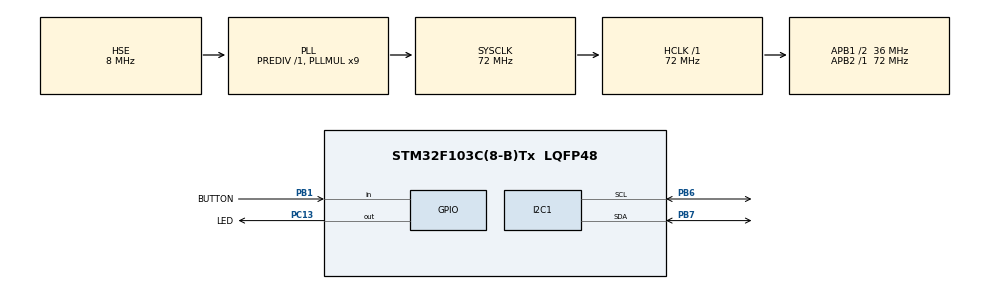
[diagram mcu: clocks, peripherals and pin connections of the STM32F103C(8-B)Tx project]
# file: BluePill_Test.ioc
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Mcu.Family=STM32F1
Mcu.Name=STM32F103C(8-B)Tx
Mcu.Package=LQFP48
NVIC.PriorityGroup=NVIC_PRIORITYGROUP_4
PA13.Mode=Serial_Wire
PA13.Signal=SYS_JTMS-SWDIO
PA14.Mode=Serial_Wire
PA14.Signal=SYS_JTCK-SWCLK
PB1.GPIO_Label=BUTTON
PB1.GPIO_Mode=GPIO_MODE_INPUT
PB1.GPIO_PuPd=GPIO_PULLUP
PB1.Signal=GPIO_Input
PB6.Mode=I2C
PB6.Signal=I2C1_SCL
PB7.Mode=I2C
PB7.Signal=I2C1_SDA
PC13-TAMPER-RTC.GPIO_Label=LED
PC13-TAMPER-RTC.GPIO_ModeDefaultOutputPP=GPIO_MODE_OUTPUT_PP
PC13-TAMPER-RTC.GPIO_PuPd=GPIO_NOPULL
PC13-TAMPER-RTC.GPIO_Speed=GPIO_SPEED_FREQ_LOW
PC13-TAMPER-RTC.PinState=GPIO_PIN_RESET
PC13-TAMPER-RTC.Signal=GPIO_Output
PD0-OSC_IN.Mode=HSE-External-Oscillator
PD0-OSC_IN.Signal=RCC_OSC_IN
PD1-OSC_OUT.Mode=HSE-External-Oscillator
PD1-OSC_OUT.Signal=RCC_OSC_OUT
ProjectManager.HeapSize=0x200
ProjectManager.StackSize=0x400
ProjectManager.TargetToolchain=STM32CubeIDE
RCC.AHBFreq_Value=72000000
RCC.APB1CLKDivider=RCC_HCLK_DIV2
RCC.APB1Freq_Value=36000000
RCC.APB1TimFreq_Value=72000000
RCC.APB2Freq_Value=72000000
RCC.APB2TimFreq_Value=72000000
RCC.HCLKFreq_Value=72000000
RCC.PLLMUL=RCC_PLL_MUL9
RCC.PLLSourceVirtual=RCC_PLLSOURCE_HSE
RCC.SYSCLKFreq_VALUE=72000000
RCC.SYSCLKSource=RCC_SYSCLKSOURCE_PLLCLK
RCC.USBFreq_Value=72000000
board=custom

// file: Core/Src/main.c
/* USER CODE BEGIN Header */
/**
  ******************************************************************************
  * @file           : main.c
  * @brief          : Main program body
  ******************************************************************************
  * @attention
  *
  * <h2><center>&copy; Copyright (c) 2020 STMicroelectronics.
  * All rights reserved.</center></h2>
  *
  * This software component is licensed by ST under BSD 3-Clause license,
  * the "License"; You may not use this file except in compliance with the
  * License. You may obtain a copy of the License at:
  *                        opensource.org/licenses/BSD-3-Clause
  *
  ******************************************************************************
  */
/* USER CODE END Header */

#include "main.h"

I2C_HandleTypeDef hi2c1;

/* USER CODE BEGIN PV */
static const uint8_t EEPROM_READ_ADDR = (0x50 << 1) & 1;
static const uint8_t EEPROM_WRITE_ADDR = (0x50 << 1);

/* USER CODE END PV */

void SystemClock_Config(void);
static void MX_GPIO_Init(void);
static void MX_I2C1_Init(void);
/* USER CODE BEGIN PFP */

void HAL_I2C_ClearBusyFlagErrata_2_14_7(I2C_HandleTypeDef *hi2c) {
    uint32_t SDA_PIN = GPIO_PIN_7;
    uint32_t SCL_PIN = GPIO_PIN_6;
    GPIO_InitTypeDef GPIO_InitStruct;

    // 1
    __HAL_I2C_DISABLE(hi2c);

    // 2
    GPIO_InitStruct.Pin = SDA_PIN|SCL_PIN;
    GPIO_InitStruct.Mode = GPIO_MODE_OUTPUT_OD;
    GPIO_InitStruct.Pull = GPIO_NOPULL;
    GPIO_InitStruct.Speed = GPIO_SPEED_FREQ_HIGH;
    HAL_GPIO_Init(GPIOB, &GPIO_InitStruct);

    HAL_GPIO_WRITE_ODR(GPIOB, SDA_PIN);
    HAL_GPIO_WRITE_ODR(GPIOB, SCL_PIN);

    // 3
    GPIO_PinState pinState;
    pinState = HAL_GPIO_ReadPin(GPIOB, SDA_PIN);
    if (pinState == GPIO_PIN_RESET) {
        HAL_Delay(10);
    }
    pinState = HAL_GPIO_ReadPin(GPIOB, SCL_PIN);
    if (pinState == GPIO_PIN_RESET) {
        HAL_Delay(10);
    }

    // 4
    GPIO_InitStruct.Pin = SDA_PIN;
    HAL_GPIO_Init(GPIOB, &GPIO_InitStruct);

    HAL_GPIO_TogglePin(GPIOB, SDA_PIN);

    // 5
    pinState = HAL_GPIO_ReadPin(GPIOB, SDA_PIN);
    if (pinState == GPIO_PIN_SET) {
        HAL_Delay(10);
    }

    // 6
    GPIO_InitStruct.Pin = SCL_PIN;
    HAL_GPIO_Init(GPIOB, &GPIO_InitStruct);

    HAL_GPIO_TogglePin(GPIOB, SCL_PIN);

    // 7
    pinState = HAL_GPIO_ReadPin(GPIOB, SCL_PIN);
    if (pinState == GPIO_PIN_SET) {
        HAL_Delay(10);
    }

    // 8
    GPIO_InitStruct.Pin = SDA_PIN;
    HAL_GPIO_Init(GPIOB, &GPIO_InitStruct);

    HAL_GPIO_WRITE_ODR(GPIOB, SDA_PIN);

    // 9
    pinState = HAL_GPIO_ReadPin(GPIOB, SDA_PIN);
    if (pinState == GPIO_PIN_RESET) {
        HAL_Delay(10);
    }

    // 10
    GPIO_InitStruct.Pin = SCL_PIN;
    HAL_GPIO_Init(GPIOB, &GPIO_InitStruct);

    HAL_GPIO_WRITE_ODR(GPIOB, SCL_PIN);

    // 11
    pinState = HAL_GPIO_ReadPin(GPIOB, SCL_PIN);
    if (pinState == GPIO_PIN_RESET) {
    	HAL_Delay(10);
    }

    // 12
	GPIO_InitStruct.Pin = GPIO_PIN_6|GPIO_PIN_7;
    GPIO_InitStruct.Mode = GPIO_MODE_AF_OD;
    GPIO_InitStruct.Speed = GPIO_SPEED_FREQ_HIGH;
    HAL_GPIO_Init(GPIOB, &GPIO_InitStruct);

    // 13
    hi2c->Instance->CR1 |= I2C_CR1_SWRST;

    // 14
    hi2c->Instance->CR1 ^= I2C_CR1_SWRST;

    // 15
    __HAL_I2C_ENABLE(hi2c);
}

void HAL_GPIO_WRITE_ODR(GPIO_TypeDef* GPIOx, uint16_t GPIO_Pin)
{
  /* Check the parameters */
  assert_param(IS_GPIO_PIN(GPIO_Pin));

  GPIOx->ODR |= GPIO_Pin;
}

/* USER CODE END PFP */

int main(void)
{
  /* USER CODE BEGIN 1 */
	HAL_StatusTypeDef ret;
	uint32_t i2cError;
  /* USER CODE END 1 */

  /* MCU Configuration--------------------------------------------------------*/

  /* Reset of all peripherals, Initializes the Flash interface and the Systick. */
  HAL_Init();

  /* Configure the system clock */
  SystemClock_Config();

  /* Initialize all configured peripherals */
  MX_GPIO_Init();
  MX_I2C1_Init();
  /* USER CODE BEGIN 2 */

  //HAL_I2C_ClearBusyFlagErrata_2_14_7(&hi2c1);
  /* USER CODE END 2 */

  /* Infinite loop */
  /* USER CODE BEGIN WHILE */
  while (1)
  {
	  GPIO_PinState pinState = HAL_GPIO_ReadPin(BUTTON_GPIO_Port, BUTTON_Pin);
	  if (pinState) {
		  HAL_GPIO_WritePin(LED_GPIO_Port, LED_Pin, GPIO_PIN_RESET);
		  HAL_Delay(100);
		  HAL_GPIO_WritePin(LED_GPIO_Port, LED_Pin, GPIO_PIN_SET);
		  HAL_Delay(100);
		  HAL_GPIO_WritePin(LED_GPIO_Port, LED_Pin, GPIO_PIN_RESET);
		  HAL_Delay(100);
		  HAL_GPIO_WritePin(LED_GPIO_Port, LED_Pin, GPIO_PIN_SET);
		  HAL_Delay(500);
	  }
	  else
	  {
		  HAL_GPIO_TogglePin(LED_GPIO_Port, LED_Pin);
		  HAL_Delay(100);
	  }

	  uint16_t eepromAddress = 0;
	  uint8_t addressBytes[2];
	  addressBytes[0]= eepromAddress >> 8; // High byte
	  addressBytes[1]= eepromAddress & 0xFF; // Low Byte

	  HAL_I2C_ModeTypeDef mode = HAL_I2C_GetMode(&hi2c1);
	  HAL_I2C_StateTypeDef state = HAL_I2C_GetState(&hi2c1);

	  ret = HAL_I2C_Master_Transmit(&hi2c1, EEPROM_WRITE_ADDR, addressBytes, 2, HAL_MAX_DELAY);
	  i2cError = HAL_I2C_GetError(&hi2c1);

	  uint8_t buf[32];
	  ret = HAL_I2C_Master_Receive(&hi2c1, EEPROM_READ_ADDR, buf, 32, 1000);
	  i2cError = HAL_I2C_GetError(&hi2c1);

	  HAL_Delay(1);
    /* USER CODE END WHILE */

  }
}

void SystemClock_Config(void)
{
  RCC_OscInitTypeDef RCC_OscInitStruct = {0};
  RCC_ClkInitTypeDef RCC_ClkInitStruct = {0};

  /** Initializes the CPU, AHB and APB busses clocks
  */
  RCC_OscInitStruct.OscillatorType = RCC_OSCILLATORTYPE_HSE;
  RCC_OscInitStruct.HSEState = RCC_HSE_ON;
  RCC_OscInitStruct.HSEPredivValue = RCC_HSE_PREDIV_DIV1;
  RCC_OscInitStruct.HSIState = RCC_HSI_ON;
  RCC_OscInitStruct.PLL.PLLState = RCC_PLL_ON;
  RCC_OscInitStruct.PLL.PLLSource = RCC_PLLSOURCE_HSE;
  RCC_OscInitStruct.PLL.PLLMUL = RCC_PLL_MUL9;
  if (HAL_RCC_OscConfig(&RCC_OscInitStruct) != HAL_OK)
  {
    Error_Handler();
  }
  /** Initializes the CPU, AHB and APB busses clocks
  */
  RCC_ClkInitStruct.ClockType = RCC_CLOCKTYPE_HCLK|RCC_CLOCKTYPE_SYSCLK
                              |RCC_CLOCKTYPE_PCLK1|RCC_CLOCKTYPE_PCLK2;
  RCC_ClkInitStruct.SYSCLKSource = RCC_SYSCLKSOURCE_PLLCLK;
  RCC_ClkInitStruct.AHBCLKDivider = RCC_SYSCLK_DIV1;
  RCC_ClkInitStruct.APB1CLKDivider = RCC_HCLK_DIV2;
  RCC_ClkInitStruct.APB2CLKDivider = RCC_HCLK_DIV1;

  if (HAL_RCC_ClockConfig(&RCC_ClkInitStruct, FLASH_LATENCY_2) != HAL_OK)
  {
    Error_Handler();
  }
}

static void MX_I2C1_Init(void)
{

  hi2c1.Instance = I2C1;
  hi2c1.Init.ClockSpeed = 100000;
  hi2c1.Init.DutyCycle = I2C_DUTYCYCLE_2;
  hi2c1.Init.OwnAddress1 = 0;
  hi2c1.Init.AddressingMode = I2C_ADDRESSINGMODE_7BIT;
  hi2c1.Init.DualAddressMode = I2C_DUALADDRESS_DISABLE;
  hi2c1.Init.OwnAddress2 = 0;
  hi2c1.Init.GeneralCallMode = I2C_GENERALCALL_DISABLE;
  hi2c1.Init.NoStretchMode = I2C_NOSTRETCH_DISABLE;
  if (HAL_I2C_Init(&hi2c1) != HAL_OK)
  {
    Error_Handler();
  }

}

static void MX_GPIO_Init(void)
{
  GPIO_InitTypeDef GPIO_InitStruct = {0};

  /* GPIO Ports Clock Enable */
  __HAL_RCC_GPIOC_CLK_ENABLE();
  __HAL_RCC_GPIOD_CLK_ENABLE();
  __HAL_RCC_GPIOB_CLK_ENABLE();
  __HAL_RCC_GPIOA_CLK_ENABLE();

  /*Configure GPIO pin Output Level */
  HAL_GPIO_WritePin(LED_GPIO_Port, LED_Pin, GPIO_PIN_RESET);

  /*Configure GPIO pin : LED_Pin */
  GPIO_InitStruct.Pin = LED_Pin;
  GPIO_InitStruct.Mode = GPIO_MODE_OUTPUT_PP;
  GPIO_InitStruct.Pull = GPIO_NOPULL;
  GPIO_InitStruct.Speed = GPIO_SPEED_FREQ_LOW;
  HAL_GPIO_Init(LED_GPIO_Port, &GPIO_InitStruct);

  /*Configure GPIO pin : BUTTON_Pin */
  GPIO_InitStruct.Pin = BUTTON_Pin;
  GPIO_InitStruct.Mode = GPIO_MODE_INPUT;
  GPIO_InitStruct.Pull = GPIO_PULLUP;
  HAL_GPIO_Init(BUTTON_GPIO_Port, &GPIO_InitStruct);

}

void Error_Handler(void)
{
}

/************************ (C) COPYRIGHT STMicroelectronics *****END OF FILE****/
